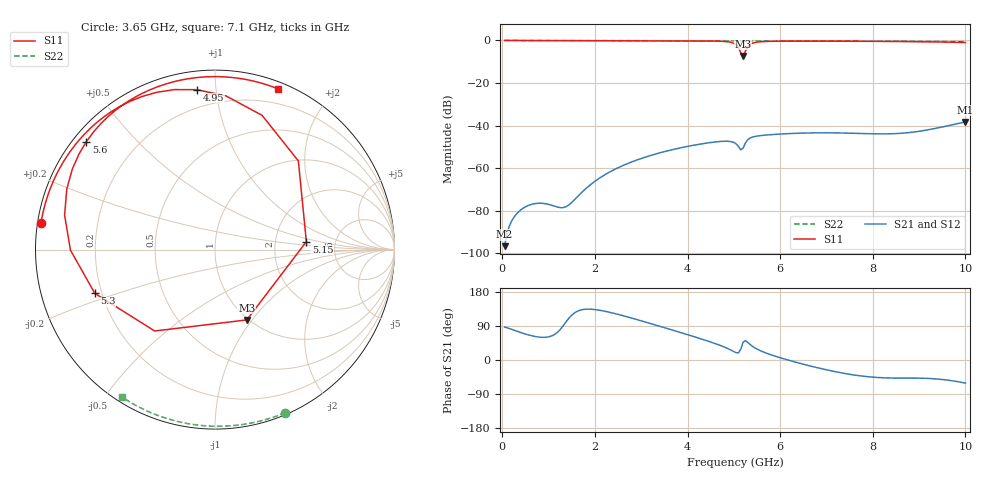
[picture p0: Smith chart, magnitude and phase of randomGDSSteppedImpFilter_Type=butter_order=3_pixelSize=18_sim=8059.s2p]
! freq	dB(S11)	phase(S11)	dB(S12)	phase(S12)
!  dB(S21)	phase(S21)	dB(S22)	phase(S22)
!S-par simulation data
#  GHz  S  DB  R 50
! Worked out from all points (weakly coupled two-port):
!   200 points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, 50 MHz to 10 GHz, reference 50 ohm
!   highest |S21| = -38.26 dB at 10 GHz (marker M1); lowest = -96.6 dB at 50 MHz (marker M2)
!   lowest |S11| = -7.3 dB at 5.2 GHz (marker M3), VSWR 2.51, Z = 49.1 - j47.2 ohm
!   |S11| at or under -10 dB: nowhere
!   |S22| runs from -0.6 to 0.0 dB; largest |S21 - S12| = 0
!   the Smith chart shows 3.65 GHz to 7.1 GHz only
!   S11 on the Smith chart (normalised r, x): 3.65 GHz: 0.01, +0.08; 4.95 GHz: 0.10, +0.89; 5.15 GHz: 3.04, +0.37; 5.3 GHz: 0.17, -0.17; 5.6 GHz: 0.04, +0.36; 7.1 GHz: 0.06, +1.47
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0.05  -0.00 -3.7  -96.61 86.8  -96.61 86.8  -0.00 -1.0
0.9  -0.08 -63.3  -76.56 59.8  -76.56 59.8  -0.02 -17.0
1.35  -0.10 -90.3  -78.31 96.2  -78.31 96.2  -0.03 -25.5
1.75  -0.11 -111.4  -70.64 133.3  -70.64 133.3  -0.04 -32.8
2.55  -0.13 -147.1  -59.28 118.8  -59.28 118.8  -0.06 -47.3
3.4  -0.16 -179.6  -52.78 89.0  -52.78 89.0  -0.08 -62.3
3.65  -0.17 171.2  -51.40 79.9  -51.40 79.9  -0.09 -66.6
4.5  -0.27 136.0  -47.94 47.5  -47.94 47.5  -0.12 -80.9
4.95  -0.95 96.5  -47.55 25.4  -47.55 25.4  -0.14 -88.3
5.05  -2.02 70.7  -48.58 19.3  -48.58 19.3  -0.14 -90.0
5.15  -5.83 5.0  -51.37 28.6  -51.37 28.6  -0.14 -91.6
5.2  -7.33 -65.6  -50.57 47.0  -50.57 47.0  -0.15 -92.4
5.25  -4.97 -126.5  -48.15 51.1  -48.15 51.1  -0.15 -93.2
5.3  -2.94 -160.0  -46.61 46.5  -46.61 46.5  -0.15 -94.0
5.45  -0.99 157.8  -45.10 32.2  -45.10 32.2  -0.16 -96.4
5.6  -0.58 140.0  -44.62 23.1  -44.62 23.1  -0.16 -98.8
6.05  -0.34 112.5  -43.90 4.2  -43.90 4.2  -0.19 -105.9
6.7  -0.32 84.7  -43.41 -17.3  -43.41 -17.3  -0.23 -116.1
7.1  -0.34 68.5  -43.38 -28.5  -43.38 -28.5  -0.26 -122.3
8.35  -0.45 15.9  -43.85 -47.4  -43.85 -47.4  -0.37 -141.7
9.15  -0.63 -20.7  -42.13 -48.4  -42.13 -48.4  -0.46 -154.4
10  -0.96 -62.6  -38.26 -61.0  -38.26 -61.0  -0.57 -168.4
